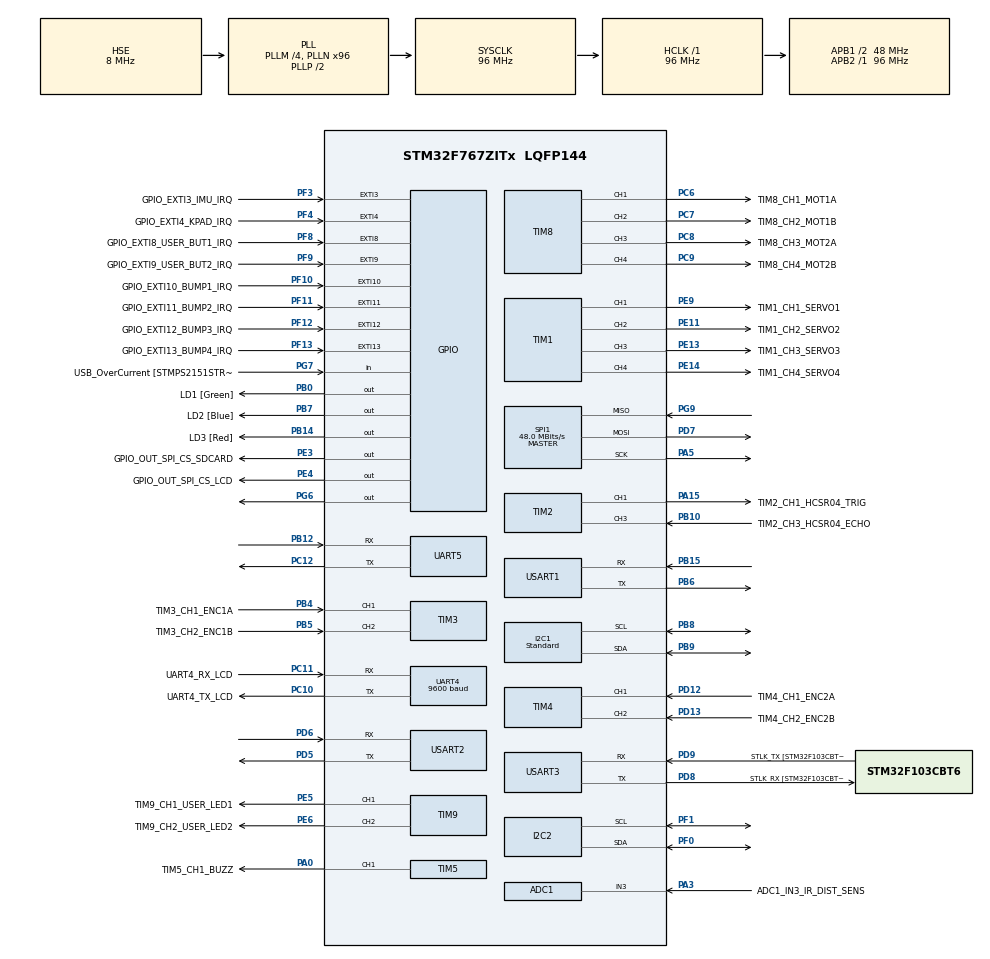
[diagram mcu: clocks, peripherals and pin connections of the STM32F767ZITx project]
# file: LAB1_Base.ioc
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ADC1.Channel-1\#ChannelRegularConversion=ADC_CHANNEL_3
ADC1.NbrOfConversionFlag=1
ADC1.Rank-1\#ChannelRegularConversion=1
ADC1.SamplingTime-1\#ChannelRegularConversion=ADC_SAMPLETIME_3CYCLES
ADC1.master=1
I2C1.I2C_Speed_Mode=I2C_Standard
I2C1.Timing=0x20303E5D
I2C2.Timing=0x20303E5D
Mcu.Family=STM32F7
Mcu.Name=STM32F767ZITx
Mcu.Package=LQFP144
Mcu.UserConstants=TIM8_PSC_VALUE,959;TIM8_ARR_VALUE,400;TIM1_PSC_VALUE,959;TIM1_ARR_VALUE,200
NVIC.EXTI4_IRQn=true\:1\:0\:true\:false\:true\:true\:true\:true
NVIC.PriorityGroup=NVIC_PRIORITYGROUP_4
PA0/WKUP.GPIO_Label=TIM5_CH1_BUZZ
PA0/WKUP.Signal=S_TIM5_CH1
PA1.GPIO_Label=RMII_REF_CLK [LAN8742A-CZ-TR_REFCLK0]
PA1.Signal=ETH_REF_CLK
PA10.GPIO_Label=USB_ID
PA10.Signal=USB_OTG_FS_ID
PA11.GPIO_Label=USB_DM
PA11.Signal=USB_OTG_FS_DM
PA12.GPIO_Label=USB_DP
PA12.Signal=USB_OTG_FS_DP
PA13.GPIO_Label=TMS
PA13.Mode=Serial_Wire
PA13.Signal=SYS_JTMS-SWDIO
PA14.GPIO_Label=TCK
PA14.Mode=Serial_Wire
PA14.Signal=SYS_JTCK-SWCLK
PA15.GPIO_Label=TIM2_CH1_HCSR04_TRIG
PA15.Signal=S_TIM2_CH1_ETR
PA2.GPIO_Label=RMII_MDIO [LAN8742A-CZ-TR_MDIO]
PA2.Signal=ETH_MDIO
PA3.GPIO_Label=ADC1_IN3_IR_DIST_SENS
PA3.Signal=ADCx_IN3
PA5.Mode=Full_Duplex_Master
PA5.Signal=SPI1_SCK
PA7.GPIO_Label=RMII_CRS_DV [LAN8742A-CZ-TR_CRS_DV]
PA7.Signal=ETH_CRS_DV
PA8.GPIO_Label=USB_SOF [TP1]
PA8.Signal=USB_OTG_FS_SOF
PA9.GPIO_Label=USB_VBUS
PA9.Signal=USB_OTG_FS_VBUS
PB0.GPIO_Label=LD1 [Green]
PB0.Signal=GPIO_Output
PB10.GPIO_Label=TIM2_CH3_HCSR04_ECHO
PB10.Signal=S_TIM2_CH3
PB12.Mode=Asynchronous
PB12.Signal=UART5_RX
PB13.GPIO_Label=RMII_TXD1 [LAN8742A-CZ-TR_TXD1]
PB13.Signal=ETH_TXD1
PB14.GPIO_Label=LD3 [Red]
PB14.Signal=GPIO_Output
PB15.Mode=Asynchronous
PB15.Signal=USART1_RX
PB3.GPIO_Label=SWO
PB3.Signal=SYS_JTDO-SWO
PB4.GPIO_Label=TIM3_CH1_ENC1A
PB4.Signal=S_TIM3_CH1
PB5.GPIO_Label=TIM3_CH2_ENC1B
PB5.Signal=S_TIM3_CH2
PB6.Mode=Asynchronous
PB6.Signal=USART1_TX
PB7.GPIO_Label=LD2 [Blue]
PB7.Signal=GPIO_Output
PB8.GPIO_Pu=GPIO_PULLUP
PB8.Mode=I2C
PB8.Signal=I2C1_SCL
PB9.GPIO_Pu=GPIO_PULLUP
PB9.Mode=I2C
PB9.Signal=I2C1_SDA
PC1.GPIO_Label=RMII_MDC [LAN8742A-CZ-TR_MDC]
PC1.Signal=ETH_MDC
PC10.GPIO_Label=UART4_TX_LCD
PC10.Mode=Asynchronous
PC10.Signal=UART4_TX
PC11.GPIO_Label=UART4_RX_LCD
PC11.Mode=Asynchronous
PC11.Signal=UART4_RX
PC12.Mode=Asynchronous
PC12.Signal=UART5_TX
PC14/OSC32_IN.Mode=LSE-External-Oscillator
PC14/OSC32_IN.Signal=RCC_OSC32_IN
PC15/OSC32_OUT.Mode=LSE-External-Oscillator
PC15/OSC32_OUT.Signal=RCC_OSC32_OUT
PC4.GPIO_Label=RMII_RXD0 [LAN8742A-CZ-TR_RXD0]
PC4.Signal=ETH_RXD0
PC5.GPIO_Label=RMII_RXD1 [LAN8742A-CZ-TR_RXD1]
PC5.Signal=ETH_RXD1
PC6.GPIO_Label=TIM8_CH1_MOT1A
PC6.Signal=S_TIM8_CH1
PC7.GPIO_Label=TIM8_CH2_MOT1B
PC7.Signal=S_TIM8_CH2
PC8.GPIO_Label=TIM8_CH3_MOT2A
PC8.Signal=S_TIM8_CH3
PC9.GPIO_Label=TIM8_CH4_MOT2B
PC9.Signal=S_TIM8_CH4
PD12.GPIO_Label=TIM4_CH1_ENC2A
PD12.Signal=S_TIM4_CH1
PD13.GPIO_Label=TIM4_CH2_ENC2B
PD13.Signal=S_TIM4_CH2
PD5.Mode=Asynchronous
PD5.Signal=USART2_TX
PD6.Mode=Asynchronous
PD6.Signal=USART2_RX
PD7.Mode=Full_Duplex_Master
PD7.Signal=SPI1_MOSI
PD8.GPIO_Label=STLK_RX [STM32F103CBT6_PA3]
PD8.Mode=Asynchronous
PD8.Signal=USART3_TX
PD9.GPIO_Label=STLK_TX [STM32F103CBT6_PA2]
PD9.Mode=Asynchronous
PD9.Signal=USART3_RX
PE11.GPIO_Label=TIM1_CH2_SERVO2
PE11.Signal=S_TIM1_CH2
PE13.GPIO_Label=TIM1_CH3_SERVO3
PE13.Signal=S_TIM1_CH3
PE14.GPIO_Label=TIM1_CH4_SERVO4
PE14.Signal=S_TIM1_CH4
PE3.GPIO_Label=GPIO_OUT_SPI_CS_SDCARD
PE3.Signal=GPIO_Output
PE4.GPIO_Label=GPIO_OUT_SPI_CS_LCD
PE4.Signal=GPIO_Output
PE5.GPIO_Label=TIM9_CH1_USER_LED1
PE5.Signal=S_TIM9_CH1
PE6.GPIO_Label=TIM9_CH2_USER_LED2
PE6.Signal=S_TIM9_CH2
PE9.GPIO_Label=TIM1_CH1_SERVO1
PE9.Signal=S_TIM1_CH1
PF0.GPIO_Pu=GPIO_PULLUP
PF0.Mode=I2C
PF0.Signal=I2C2_SDA
PF1.GPIO_Pu=GPIO_PULLUP
PF1.Mode=I2C
PF1.Signal=I2C2_SCL
PF10.GPIO_Label=GPIO_EXTI10_BUMP1_IRQ
PF10.Signal=GPXTI10
PF11.GPIO_Label=GPIO_EXTI11_BUMP2_IRQ
PF11.Signal=GPXTI11
PF12.GPIO_Label=GPIO_EXTI12_BUMP3_IRQ
PF12.Signal=GPXTI12
PF13.GPIO_Label=GPIO_EXTI13_BUMP4_IRQ
PF13.Signal=GPXTI13
PF3.GPIO_Label=GPIO_EXTI3_IMU_IRQ
PF3.Signal=GPXTI3
PF4.GPIO_Label=GPIO_EXTI4_KPAD_IRQ
PF4.GPIO_ModeDefaultEXTI=GPIO_MODE_IT_FALLING
PF4.Signal=GPXTI4
PF8.GPIO_Label=GPIO_EXTI8_USER_BUT1_IRQ
PF8.Signal=GPXTI8
PF9.GPIO_Label=GPIO_EXTI9_USER_BUT2_IRQ
PF9.Signal=GPXTI9
PG11.GPIO_Label=RMII_TX_EN [LAN8742A-CZ-TR_TXEN]
PG11.Signal=ETH_TX_EN
PG13.GPIO_Label=RMII_TXD0 [LAN8742A-CZ-TR_TXD0]
PG13.Signal=ETH_TXD0
PG6.Signal=GPIO_Output
PG7.GPIO_Label=USB_OverCurrent [STMPS2151STR_FAULT]
PG7.Signal=GPIO_Input
PG9.Mode=Full_Duplex_Master
PG9.Signal=SPI1_MISO
PH0/OSC_IN.GPIO_Label=MCO [STM32F103CBT6_PA8]
PH0/OSC_IN.Mode=HSE-External-Clock-Source
PH0/OSC_IN.Signal=RCC_OSC_IN
PH1/OSC_OUT.Mode=HSE-External-Clock-Source
PH1/OSC_OUT.Signal=RCC_OSC_OUT
ProjectManager.HeapSize=0x200
ProjectManager.StackSize=0x400
ProjectManager.TargetToolchain=STM32CubeIDE
RCC.48MHZClocksFreq_Value=24000000
RCC.AHBFreq_Value=96000000
RCC.APB1CLKDivider=RCC_HCLK_DIV2
RCC.APB1Freq_Value=48000000
RCC.APB1TimFreq_Value=96000000
RCC.APB2Freq_Value=96000000
RCC.APB2TimFreq_Value=96000000
RCC.CortexFreq_Value=96000000
RCC.HCLKFreq_Value=96000000
RCC.HSE_VALUE=8000000
RCC.HSI_VALUE=16000000
RCC.PLLM=4
RCC.PLLMUL=RCC_PLL_MUL9
RCC.PLLN=96
RCC.PLLQ=4
RCC.PLLSourceVirtual=RCC_PLLSOURCE_HSE
RCC.PRESCALERUSB=RCC_USBCLKSOURCE_PLL_DIV1_5
RCC.SYSCLKFreq_VALUE=96000000
RCC.SYSCLKSource=RCC_SYSCLKSOURCE_PLLCLK
RCC.SYSCLKSourceVirtual=RCC_SYSCLKSOURCE_PLLCLK
RCC.USBFreq_Value=48000000
RCC.VCOOutputFreq_Value=192000000
SH.ADCx_IN3.0=ADC1_IN3,IN3
SH.S_TIM1_CH1.0=TIM1_CH1,PWM Generation1 CH1
SH.S_TIM1_CH2.0=TIM1_CH2,PWM Generation2 CH2
SH.S_TIM1_CH3.0=TIM1_CH3,PWM Generation3 CH3
SH.S_TIM1_CH4.0=TIM1_CH4,PWM Generation4 CH4
SH.S_TIM2_CH1_ETR.0=TIM2_CH1,PWM Generation1 CH1
SH.S_TIM2_CH3.0=TIM2_CH3,Input_Capture3_from_TI3
SH.S_TIM3_CH1.0=TIM3_CH1,Encoder_Interface
SH.S_TIM3_CH2.0=TIM3_CH2,Encoder_Interface
SH.S_TIM4_CH1.0=TIM4_CH1,Encoder_Interface
SH.S_TIM4_CH2.0=TIM4_CH2,Encoder_Interface
SH.S_TIM5_CH1.0=TIM5_CH1,PWM Generation1 CH1
SH.S_TIM8_CH1.0=TIM8_CH1,PWM Generation1 CH1
SH.S_TIM8_CH2.0=TIM8_CH2,PWM Generation2 CH2
SH.S_TIM8_CH3.0=TIM8_CH3,PWM Generation3 CH3
SH.S_TIM8_CH4.0=TIM8_CH4,PWM Generation4 CH4
SH.S_TIM9_CH1.0=TIM9_CH1,PWM Generation1 CH1
SH.S_TIM9_CH2.0=TIM9_CH2,PWM Generation2 CH2
SPI1.CalculateBaudRate=48.0 MBits/s
SPI1.Direction=SPI_DIRECTION_2LINES
SPI1.Mode=SPI_MODE_MASTER
SPI1.VirtualType=VM_MASTER
TIM1.Channel-PWM\ Generation1\ CH1=TIM_CHANNEL_1
TIM1.Channel-PWM\ Generation2\ CH2=TIM_CHANNEL_2
TIM1.Channel-PWM\ Generation3\ CH3=TIM_CHANNEL_3
TIM1.Channel-PWM\ Generation4\ CH4=TIM_CHANNEL_4
TIM1.Period=TIM1_ARR_VALUE
TIM1.Prescaler=TIM1_PSC_VALUE
TIM2.Channel-Input_Capture3_from_TI3=TIM_CHANNEL_3
TIM2.Channel-PWM\ Generation1\ CH1=TIM_CHANNEL_1
TIM5.Channel-PWM\ Generation1\ CH1=TIM_CHANNEL_1
TIM8.Channel-PWM\ Generation1\ CH1=TIM_CHANNEL_1
TIM8.Channel-PWM\ Generation2\ CH2=TIM_CHANNEL_2
TIM8.Channel-PWM\ Generation3\ CH3=TIM_CHANNEL_3
TIM8.Channel-PWM\ Generation4\ CH4=TIM_CHANNEL_4
TIM8.Period=TIM8_ARR_VALUE
TIM8.Prescaler=TIM8_PSC_VALUE
TIM9.Channel-PWM\ Generation1\ CH1=TIM_CHANNEL_1
TIM9.Channel-PWM\ Generation2\ CH2=TIM_CHANNEL_2
UART4.BaudRate=9600
USART1.VirtualMode-Asynchronous=VM_ASYNC
USART2.VirtualMode-Asynchronous=VM_ASYNC
USART3.VirtualMode-Asynchronous=VM_ASYNC
VP_TIM1_VS_ClockSourceINT.Mode=Internal
VP_TIM2_VS_ClockSourceINT.Mode=Internal
VP_TIM5_VS_ClockSourceINT.Mode=Internal
VP_TIM8_VS_ClockSourceINT.Mode=Internal
board=NUCLEO-F767ZI

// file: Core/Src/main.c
/* USER CODE BEGIN Header */
/**
 ******************************************************************************
 * @file           : main.c
 * @brief          : Main program body
 ******************************************************************************
 * @attention
 *
 * <h2><center>&copy; Copyright (c) 2021 STMicroelectronics.
 * All rights reserved.</center></h2>
 *
 * This software component is licensed by ST under BSD 3-Clause license,
 * the "License"; You may not use this file except in compliance with the
 * License. You may obtain a copy of the License at:
 *                        opensource.org/licenses/BSD-3-Clause
 *
 ******************************************************************************
 */
/* USER CODE END Header */
#include "main.h"

/* USER CODE BEGIN Includes */
#include <stdio.h>
#include <string.h>
#include "SX1509_Registers.h"
/* USER CODE END Includes */

/* USER CODE BEGIN PD */
#define HAL_TIMEOUT 100

#define I2C_TIMEOUT 200

#define SX1509_I2C_ADDR1 0x3E //	SX1509 Proxy Sensors I2C address
#define SX1509_I2C_ADDR2 0x3F //	SX1509 Keypad I2C address
/* USER CODE END PD */

ADC_HandleTypeDef hadc1;

I2C_HandleTypeDef hi2c1;
I2C_HandleTypeDef hi2c2;

SPI_HandleTypeDef hspi1;

TIM_HandleTypeDef htim1;
TIM_HandleTypeDef htim2;
TIM_HandleTypeDef htim3;
TIM_HandleTypeDef htim4;
TIM_HandleTypeDef htim5;
TIM_HandleTypeDef htim8;
TIM_HandleTypeDef htim9;

UART_HandleTypeDef huart4;
UART_HandleTypeDef huart5;
UART_HandleTypeDef huart1;
UART_HandleTypeDef huart2;
UART_HandleTypeDef huart3;

/* USER CODE BEGIN PV */
const char keypadLayout[4][4] = {
    {'*', '0', '#', 'D'},
    {'7', '8', '9', 'C'},
    {'4', '5', '6', 'B'},
    {'1', '2', '3', 'A'}};
/* USER CODE END PV */

void SystemClock_Config(void);
static void MX_GPIO_Init(void);
static void MX_USART3_UART_Init(void);
static void MX_ADC1_Init(void);
static void MX_I2C1_Init(void);
static void MX_I2C2_Init(void);
static void MX_SPI1_Init(void);
static void MX_TIM1_Init(void);
static void MX_TIM2_Init(void);
static void MX_TIM3_Init(void);
static void MX_TIM4_Init(void);
static void MX_TIM5_Init(void);
static void MX_TIM8_Init(void);
static void MX_UART4_Init(void);
static void MX_UART5_Init(void);
static void MX_USART1_UART_Init(void);
static void MX_USART2_UART_Init(void);
static void MX_TIM9_Init(void);

/* USER CODE BEGIN 0 */
extern void initialise_monitor_handles(void);

int _write(int file, char *ptr, int len)
{
	int DataIdx;
	for (DataIdx = 0; DataIdx < len; DataIdx++)
	{
		ITM_SendChar(*ptr++);
	}
	return len;
}

void HAL_GPIO_EXTI_Callback(uint16_t GPIO_Pin)
{

	  printf("Interrupt on pin (%d).\n", GPIO_Pin);
      uint8_t data;
      data = 0x1B;

      HAL_StatusTypeDef status_col = HAL_I2C_Mem_Write(&hi2c1, SX1509_I2C_ADDR2 << 1, REG_KEY_DATA_1, 1, &data, 1, I2C_TIMEOUT);

      if (status_col != HAL_OK){
          printf("I2C communication error (%X)",status_col);

      }

      printf("Column Pressed: (%d).\n", REG_KEY_DATA_1);

      HAL_StatusTypeDef status_row = HAL_I2C_Mem_Write(&hi2c1, SX1509_I2C_ADDR2 << 1, REG_KEY_DATA_2, 1, &data, 1, I2C_TIMEOUT);

      if (status_row != HAL_OK){
          printf("I2C communication error (%X)", status_row);
		}

      printf("Row Pressed: (%d).\n", REG_KEY_DATA_2);

}

/* USER CODE END 0 */

int main(void)
{

  /* USER CODE BEGIN 1 */
  initialise_monitor_handles();

  uint8_t data;
  HAL_StatusTypeDef status;
  /* USER CODE END 1 */

  /* MCU Configuration--------------------------------------------------------*/

  /* Reset of all peripherals, Initializes the Flash interface and the Systick. */
  HAL_Init();

  /* Configure the system clock */
  SystemClock_Config();

  /* Initialize all configured peripherals */
  MX_GPIO_Init();
  MX_USART3_UART_Init();
  MX_ADC1_Init();
  MX_I2C1_Init();
  MX_I2C2_Init();
  MX_SPI1_Init();
  MX_TIM1_Init();
  MX_TIM2_Init();
  MX_TIM3_Init();
  MX_TIM4_Init();
  MX_TIM5_Init();
  MX_TIM8_Init();
  MX_UART4_Init();
  MX_UART5_Init();
  MX_USART1_UART_Init();
  MX_USART2_UART_Init();
  MX_TIM9_Init();
  /* USER CODE BEGIN 2 */

  /* Disable LCD SPI SS */
  HAL_GPIO_WritePin(GPIO_OUT_SPI_CS_LCD_GPIO_Port, GPIO_OUT_SPI_CS_LCD_Pin, GPIO_PIN_SET);

  /* Disable EXTI4_IRQ during SX1509 initialization */
  HAL_NVIC_DisableIRQ(EXTI4_IRQn);

  ITM_SendChar('h');

  /* Software reset */
  data = 0x12;
  status = HAL_I2C_Mem_Write(&hi2c1, SX1509_I2C_ADDR2 << 1, REG_RESET, 1, &data, 1, I2C_TIMEOUT);
  if (status != HAL_OK)
    printf("I2C communication error (%X).\n", status);

  data = 0x34;
  status = HAL_I2C_Mem_Write(&hi2c1, SX1509_I2C_ADDR2 << 1, REG_RESET, 1, &data, 1, I2C_TIMEOUT);
  if (status != HAL_OK)
    printf("I2C communication error (%X).\n", status);

  HAL_Delay(100);

  /* Set KeyPad scanning engine */

  /* Set RegClock to 0x40 (enable internal oscillator; 2MHz freq) */
  data = 0x40;
  status = HAL_I2C_Mem_Write(&hi2c1, SX1509_I2C_ADDR2 << 1, REG_CLOCK, 1, &data, 1, I2C_TIMEOUT);
  if (status != HAL_OK)
    printf("I2C communication error (%X).\n", status);

  /* Set Bank A RegDir to 0xF0 (IO[0:3] as out) */
  data = 0xF0;
  status = HAL_I2C_Mem_Write(&hi2c1, SX1509_I2C_ADDR2 << 1, REG_DIR_A, 1, &data, 1, I2C_TIMEOUT);
  if (status != HAL_OK)
    printf("I2C communication error (%X).\n", status);

  /* Set Bank B RegDir to 0x0F (IO[8:11] as in) */
  data = 0x0F;
  status = HAL_I2C_Mem_Write(&hi2c1, SX1509_I2C_ADDR2 << 1, REG_DIR_B, 1, &data, 1, I2C_TIMEOUT);
  if (status != HAL_OK)
    printf("I2C communication error (%X).\n", status);

  /* Set Bank A RegOpenDrain to 0x0F (IO[0:3] as open-drain outputs) */
  data = 0x0F;
  status = HAL_I2C_Mem_Write(&hi2c1, SX1509_I2C_ADDR2 << 1, REG_OPEN_DRAIN_A, 1, &data, 1, I2C_TIMEOUT);
  if (status != HAL_OK)
    printf("I2C communication error (%X).\n", status);

  /* Set Bank B RegPullup to 0x0F (pull-ups enabled on inputs IO[8:11]) */
  data = 0x0F;
  status = HAL_I2C_Mem_Write(&hi2c1, SX1509_I2C_ADDR2 << 1, REG_PULL_UP_B, 1, &data, 1, I2C_TIMEOUT);
  if (status != HAL_OK)
    printf("I2C communication error (%X).\n", status);

  /* Set Bank B RegDebounceEnable to 0x0F (enable debouncing on IO[8:11]) */
  data = 0x0F;
  status = HAL_I2C_Mem_Write(&hi2c1, SX1509_I2C_ADDR2 << 1, REG_DEBOUNCE_ENABLE_B, 1, &data, 1, I2C_TIMEOUT);
  if (status != HAL_OK)
    printf("I2C communication error (%X).\n", status);

  /* Set RegDebounceConfig to 0x05 (16ms debounce time) */
  data = 0x05;
  status = HAL_I2C_Mem_Write(&hi2c1, SX1509_I2C_ADDR2 << 1, REG_DEBOUNCE_CONFIG, 1, &data, 1, I2C_TIMEOUT);
  if (status != HAL_OK)
    printf("I2C communication error (%X).\n", status);

  /* Set RegKeyConfig1 to 0x7D (8s auto-sleep; 32ms scan time per row) */
  data = 0x7D;
  status = HAL_I2C_Mem_Write(&hi2c1, SX1509_I2C_ADDR2 << 1, REG_KEY_CONFIG_1, 1, &data, 1, I2C_TIMEOUT);
  if (status != HAL_OK)
    printf("I2C communication error (%X).\n", status);

  /* Set RegKeyConfig2 to 0x1B (4 rows; 4 columns) */
  data = 0x1B;
  status = HAL_I2C_Mem_Write(&hi2c1, SX1509_I2C_ADDR2 << 1, REG_KEY_CONFIG_2, 1, &data, 1, I2C_TIMEOUT);
  if (status != HAL_OK)
    printf("I2C communication error (%X).\n", status);

  /* Enable EXTI4_IRQ after SX1509 initialization */
  HAL_Delay(100);
  HAL_NVIC_EnableIRQ(EXTI4_IRQn);

  /* Disable EXTI2_IRQ during SX1509 initialization */
  HAL_NVIC_DisableIRQ(EXTI2_IRQn);

  /* Software reset */
  data = 0x12;
  status = HAL_I2C_Mem_Write(&hi2c1, SX1509_I2C_ADDR1 << 1, REG_RESET, 1, &data, 1, I2C_TIMEOUT);
  if (status != HAL_OK)
    printf("I2C communication error (%X).\n", status);

  data = 0x34;
  status = HAL_I2C_Mem_Write(&hi2c1, SX1509_I2C_ADDR1 << 1, REG_RESET, 1, &data, 1, I2C_TIMEOUT);
  if (status != HAL_OK)
    printf("I2C communication error (%X).\n", status);

  HAL_Delay(100);

  /* Set RegDirA to 0xFF (all IO of Bank A configured as inputs) */
  data = 0xFF; // 0 = out; 1 = in
  status = HAL_I2C_Mem_Write(&hi2c1, SX1509_I2C_ADDR1 << 1, REG_DIR_A, 1, &data, 1, I2C_TIMEOUT);
  if (status != HAL_OK)
    printf("I2C communication error (%X).\n", status);

  /* Set RegDirB to 0xFF (all IO of Bank B configured as inputs) */
  data = 0xFF; // 0 = out; 1 = in
  status = HAL_I2C_Mem_Write(&hi2c1, SX1509_I2C_ADDR1 << 1, REG_DIR_B, 1, &data, 1, I2C_TIMEOUT);
  if (status != HAL_OK)
    printf("I2C communication error (%X).\n", status);

  /* Set RegInterruptMaskA to 0x00 (all IO of Bank A will trigger an interrupt) */
  data = 0x00;
  status = HAL_I2C_Mem_Write(&hi2c1, SX1509_I2C_ADDR1 << 1, REG_INTERRUPT_MASK_A, 1, &data, 1, I2C_TIMEOUT);
  if (status != HAL_OK)
    printf("I2C communication error (%X).\n", status);

  /* Set RegSenseHighA to 0xAA (IO[7:4] of Bank A will trigger an interrupt on falling edge) */
  data = 0xAA;
  status = HAL_I2C_Mem_Write(&hi2c1, SX1509_I2C_ADDR1 << 1, REG_SENSE_HIGH_A, 1, &data, 1, I2C_TIMEOUT);
  if (status != HAL_OK)
    printf("I2C communication error (%X).\n", status);

  /* Set RegSenseLowA to 0xAA (IO[3:0] of Bank A will trigger an interrupt on falling edge) */
  data = 0xAA;
  status = HAL_I2C_Mem_Write(&hi2c1, SX1509_I2C_ADDR1 << 1, REG_SENSE_LOW_A, 1, &data, 1, I2C_TIMEOUT);
  if (status != HAL_OK)
    printf("I2C communication error (%X).\n", status);

  /* Enable EXTI2_IRQ after SX1509 initialization */
  HAL_Delay(100);
  HAL_NVIC_EnableIRQ(EXTI2_IRQn);

  printf("Ready\n");

  /* USER CODE END 2 */

  /* Infinite loop */
  while (1)
  {
	  printf("Hello, World!\n");
	  HAL_Delay(1000);
  }
}

void SystemClock_Config(void)
{
  RCC_OscInitTypeDef RCC_OscInitStruct = {0};
  RCC_ClkInitTypeDef RCC_ClkInitStruct = {0};

  /** Configure LSE Drive Capability
  */
  HAL_PWR_EnableBkUpAccess();

  /** Configure the main internal regulator output voltage
  */
  __HAL_RCC_PWR_CLK_ENABLE();
  __HAL_PWR_VOLTAGESCALING_CONFIG(PWR_REGULATOR_VOLTAGE_SCALE3);

  /** Initializes the RCC Oscillators according to the specified parameters
  * in the RCC_OscInitTypeDef structure.
  */
  RCC_OscInitStruct.OscillatorType = RCC_OSCILLATORTYPE_HSE;
  RCC_OscInitStruct.HSEState = RCC_HSE_BYPASS;
  RCC_OscInitStruct.PLL.PLLState = RCC_PLL_ON;
  RCC_OscInitStruct.PLL.PLLSource = RCC_PLLSOURCE_HSE;
  RCC_OscInitStruct.PLL.PLLM = 4;
  RCC_OscInitStruct.PLL.PLLN = 96;
  RCC_OscInitStruct.PLL.PLLP = RCC_PLLP_DIV2;
  RCC_OscInitStruct.PLL.PLLQ = 4;
  RCC_OscInitStruct.PLL.PLLR = 2;
  if (HAL_RCC_OscConfig(&RCC_OscInitStruct) != HAL_OK)
  {
    Error_Handler();
  }

  /** Activate the Over-Drive mode
  */
  if (HAL_PWREx_EnableOverDrive() != HAL_OK)
  {
    Error_Handler();
  }

  /** Initializes the CPU, AHB and APB buses clocks
  */
  RCC_ClkInitStruct.ClockType = RCC_CLOCKTYPE_HCLK|RCC_CLOCKTYPE_SYSCLK
                              |RCC_CLOCKTYPE_PCLK1|RCC_CLOCKTYPE_PCLK2;
  RCC_ClkInitStruct.SYSCLKSource = RCC_SYSCLKSOURCE_PLLCLK;
  RCC_ClkInitStruct.AHBCLKDivider = RCC_SYSCLK_DIV1;
  RCC_ClkInitStruct.APB1CLKDivider = RCC_HCLK_DIV2;
  RCC_ClkInitStruct.APB2CLKDivider = RCC_HCLK_DIV1;

  if (HAL_RCC_ClockConfig(&RCC_ClkInitStruct, FLASH_LATENCY_3) != HAL_OK)
  {
    Error_Handler();
  }
}

static void MX_ADC1_Init(void)
{

  ADC_ChannelConfTypeDef sConfig = {0};

  /** Configure the global features of the ADC (Clock, Resolution, Data Alignment and number of conversion)
  */
  hadc1.Instance = ADC1;
  hadc1.Init.ClockPrescaler = ADC_CLOCK_SYNC_PCLK_DIV4;
  hadc1.Init.Resolution = ADC_RESOLUTION_12B;
  hadc1.Init.ScanConvMode = ADC_SCAN_DISABLE;
  hadc1.Init.ContinuousConvMode = DISABLE;
  hadc1.Init.DiscontinuousConvMode = DISABLE;
  hadc1.Init.ExternalTrigConvEdge = ADC_EXTERNALTRIGCONVEDGE_NONE;
  hadc1.Init.ExternalTrigConv = ADC_SOFTWARE_START;
  hadc1.Init.DataAlign = ADC_DATAALIGN_RIGHT;
  hadc1.Init.NbrOfConversion = 1;
  hadc1.Init.DMAContinuousRequests = DISABLE;
  hadc1.Init.EOCSelection = ADC_EOC_SINGLE_CONV;
  if (HAL_ADC_Init(&hadc1) != HAL_OK)
  {
    Error_Handler();
  }

  /** Configure for the selected ADC regular channel its corresponding rank in the sequencer and its sample time.
  */
  sConfig.Channel = ADC_CHANNEL_3;
  sConfig.Rank = ADC_REGULAR_RANK_1;
  sConfig.SamplingTime = ADC_SAMPLETIME_3CYCLES;
  if (HAL_ADC_ConfigChannel(&hadc1, &sConfig) != HAL_OK)
  {
    Error_Handler();
  }

}

static void MX_I2C1_Init(void)
{

  hi2c1.Instance = I2C1;
  hi2c1.Init.Timing = 0x20303E5D;
  hi2c1.Init.OwnAddress1 = 0;
  hi2c1.Init.AddressingMode = I2C_ADDRESSINGMODE_7BIT;
  hi2c1.Init.DualAddressMode = I2C_DUALADDRESS_DISABLE;
  hi2c1.Init.OwnAddress2 = 0;
  hi2c1.Init.OwnAddress2Masks = I2C_OA2_NOMASK;
  hi2c1.Init.GeneralCallMode = I2C_GENERALCALL_DISABLE;
  hi2c1.Init.NoStretchMode = I2C_NOSTRETCH_DISABLE;
  if (HAL_I2C_Init(&hi2c1) != HAL_OK)
  {
    Error_Handler();
  }

  /** Configure Analogue filter
  */
  if (HAL_I2CEx_ConfigAnalogFilter(&hi2c1, I2C_ANALOGFILTER_ENABLE) != HAL_OK)
  {
    Error_Handler();
  }

  /** Configure Digital filter
  */
  if (HAL_I2CEx_ConfigDigitalFilter(&hi2c1, 0) != HAL_OK)
  {
    Error_Handler();
  }

}

static void MX_I2C2_Init(void)
{

  hi2c2.Instance = I2C2;
  hi2c2.Init.Timing = 0x20303E5D;
  hi2c2.Init.OwnAddress1 = 0;
  hi2c2.Init.AddressingMode = I2C_ADDRESSINGMODE_7BIT;
  hi2c2.Init.DualAddressMode = I2C_DUALADDRESS_DISABLE;
  hi2c2.Init.OwnAddress2 = 0;
  hi2c2.Init.OwnAddress2Masks = I2C_OA2_NOMASK;
  hi2c2.Init.GeneralCallMode = I2C_GENERALCALL_DISABLE;
  hi2c2.Init.NoStretchMode = I2C_NOSTRETCH_DISABLE;
  if (HAL_I2C_Init(&hi2c2) != HAL_OK)
  {
    Error_Handler();
  }

  /** Configure Analogue filter
  */
  if (HAL_I2CEx_ConfigAnalogFilter(&hi2c2, I2C_ANALOGFILTER_ENABLE) != HAL_OK)
  {
    Error_Handler();
  }

  /** Configure Digital filter
  */
  if (HAL_I2CEx_ConfigDigitalFilter(&hi2c2, 0) != HAL_OK)
  {
    Error_Handler();
  }

}

static void MX_SPI1_Init(void)
{

  /* SPI1 parameter configuration*/
  hspi1.Instance = SPI1;
  hspi1.Init.Mode = SPI_MODE_MASTER;
  hspi1.Init.Direction = SPI_DIRECTION_2LINES;
  hspi1.Init.DataSize = SPI_DATASIZE_4BIT;
  hspi1.Init.CLKPolarity = SPI_POLARITY_LOW;
  hspi1.Init.CLKPhase = SPI_PHASE_1EDGE;
  hspi1.Init.NSS = SPI_NSS_SOFT;
  hspi1.Init.BaudRatePrescaler = SPI_BAUDRATEPRESCALER_2;
  hspi1.Init.FirstBit = SPI_FIRSTBIT_MSB;
  hspi1.Init.TIMode = SPI_TIMODE_DISABLE;
  hspi1.Init.CRCCalculation = SPI_CRCCALCULATION_DISABLE;
  hspi1.Init.CRCPolynomial = 7;
  hspi1.Init.CRCLength = SPI_CRC_LENGTH_DATASIZE;
  hspi1.Init.NSSPMode = SPI_NSS_PULSE_ENABLE;
  if (HAL_SPI_Init(&hspi1) != HAL_OK)
  {
    Error_Handler();
  }

}

static void MX_TIM1_Init(void)
{

  TIM_ClockConfigTypeDef sClockSourceConfig = {0};
  TIM_MasterConfigTypeDef sMasterConfig = {0};
  TIM_OC_InitTypeDef sConfigOC = {0};
  TIM_BreakDeadTimeConfigTypeDef sBreakDeadTimeConfig = {0};

  htim1.Instance = TIM1;
  htim1.Init.Prescaler = TIM1_PSC_VALUE;
  htim1.Init.CounterMode = TIM_COUNTERMODE_UP;
  htim1.Init.Period = TIM1_ARR_VALUE;
  htim1.Init.ClockDivision = TIM_CLOCKDIVISION_DIV1;
  htim1.Init.RepetitionCounter = 0;
  htim1.Init.AutoReloadPreload = TIM_AUTORELOAD_PRELOAD_DISABLE;
  if (HAL_TIM_Base_Init(&htim1) != HAL_OK)
  {
    Error_Handler();
  }
  sClockSourceConfig.ClockSource = TIM_CLOCKSOURCE_INTERNAL;
  if (HAL_TIM_ConfigClockSource(&htim1, &sClockSourceConfig) != HAL_OK)
  {
    Error_Handler();
  }
  if (HAL_TIM_PWM_Init(&htim1) != HAL_OK)
  {
    Error_Handler();
  }
  sMasterConfig.MasterOutputTrigger = TIM_TRGO_RESET;
  sMasterConfig.MasterOutputTrigger2 = TIM_TRGO2_RESET;
  sMasterConfig.MasterSlaveMode = TIM_MASTERSLAVEMODE_DISABLE;
  if (HAL_TIMEx_MasterConfigSynchronization(&htim1, &sMasterConfig) != HAL_OK)
  {
    Error_Handler();
  }
  sConfigOC.OCMode = TIM_OCMODE_PWM1;
  sConfigOC.Pulse = 0;
  sConfigOC.OCPolarity = TIM_OCPOLARITY_HIGH;
  sConfigOC.OCNPolarity = TIM_OCNPOLARITY_HIGH;
  sConfigOC.OCFastMode = TIM_OCFAST_DISABLE;
  sConfigOC.OCIdleState = TIM_OCIDLESTATE_RESET;
  sConfigOC.OCNIdleState = TIM_OCNIDLESTATE_RESET;
  if (HAL_TIM_PWM_ConfigChannel(&htim1, &sConfigOC, TIM_CHANNEL_1) != HAL_OK)
  {
    Error_Handler();
  }
  if (HAL_TIM_PWM_ConfigChannel(&htim1, &sConfigOC, TIM_CHANNEL_2) != HAL_OK)
  {
    Error_Handler();
  }
  if (HAL_TIM_PWM_ConfigChannel(&htim1, &sConfigOC, TIM_CHANNEL_3) != HAL_OK)
  {
    Error_Handler();
  }
  if (HAL_TIM_PWM_ConfigChannel(&htim1, &sConfigOC, TIM_CHANNEL_4) != HAL_OK)
  {
    Error_Handler();
  }
  sBreakDeadTimeConfig.OffStateRunMode = TIM_OSSR_DISABLE;
  sBreakDeadTimeConfig.OffStateIDLEMode = TIM_OSSI_DISABLE;
  sBreakDeadTimeConfig.LockLevel = TIM_LOCKLEVEL_OFF;
  sBreakDeadTimeConfig.DeadTime = 0;
  sBreakDeadTimeConfig.BreakState = TIM_BREAK_DISABLE;
  sBreakDeadTimeConfig.BreakPolarity = TIM_BREAKPOLARITY_HIGH;
  sBreakDeadTimeConfig.BreakFilter = 0;
  sBreakDeadTimeConfig.Break2State = TIM_BREAK2_DISABLE;
  sBreakDeadTimeConfig.Break2Polarity = TIM_BREAK2POLARITY_HIGH;
  sBreakDeadTimeConfig.Break2Filter = 0;
  sBreakDeadTimeConfig.AutomaticOutput = TIM_AUTOMATICOUTPUT_DISABLE;
  if (HAL_TIMEx_ConfigBreakDeadTime(&htim1, &sBreakDeadTimeConfig) != HAL_OK)
  {
    Error_Handler();
  }
  HAL_TIM_MspPostInit(&htim1);

}

static void MX_TIM2_Init(void)
{

  TIM_ClockConfigTypeDef sClockSourceConfig = {0};
  TIM_MasterConfigTypeDef sMasterConfig = {0};
  TIM_OC_InitTypeDef sConfigOC = {0};
  TIM_IC_InitTypeDef sConfigIC = {0};

  htim2.Instance = TIM2;
  htim2.Init.Prescaler = 0;
  htim2.Init.CounterMode = TIM_COUNTERMODE_UP;
  htim2.Init.Period = 4294967295;
  htim2.Init.ClockDivision = TIM_CLOCKDIVISION_DIV1;
  htim2.Init.AutoReloadPreload = TIM_AUTORELOAD_PRELOAD_DISABLE;
  if (HAL_TIM_Base_Init(&htim2) != HAL_OK)
  {
    Error_Handler();
  }
  sClockSourceConfig.ClockSource = TIM_CLOCKSOURCE_INTERNAL;
  if (HAL_TIM_ConfigClockSource(&htim2, &sClockSourceConfig) != HAL_OK)
  {
    Error_Handler();
  }
  if (HAL_TIM_PWM_Init(&htim2) != HAL_OK)
  {
    Error_Handler();
  }
  if (HAL_TIM_IC_Init(&htim2) != HAL_OK)
  {
    Error_Handler();
  }
  sMasterConfig.MasterOutputTrigger = TIM_TRGO_RESET;
  sMasterConfig.MasterSlaveMode = TIM_MASTERSLAVEMODE_DISABLE;
  if (HAL_TIMEx_MasterConfigSynchronization(&htim2, &sMasterConfig) != HAL_OK)
  {
    Error_Handler();
  }
  sConfigOC.OCMode = TIM_OCMODE_PWM1;
  sConfigOC.Pulse = 0;
  sConfigOC.OCPolarity = TIM_OCPOLARITY_HIGH;
  sConfigOC.OCFastMode = TIM_OCFAST_DISABLE;
  if (HAL_TIM_PWM_ConfigChannel(&htim2, &sConfigOC, TIM_CHANNEL_1) != HAL_OK)
  {
    Error_Handler();
  }
  sConfigIC.ICPolarity = TIM_INPUTCHANNELPOLARITY_RISING;
  sConfigIC.ICSelection = TIM_ICSELECTION_DIRECTTI;
  sConfigIC.ICPrescaler = TIM_ICPSC_DIV1;
  sConfigIC.ICFilter = 0;
  if (HAL_TIM_IC_ConfigChannel(&htim2, &sConfigIC, TIM_CHANNEL_3) != HAL_OK)
  {
    Error_Handler();
  }
  HAL_TIM_MspPostInit(&htim2);

}

static void MX_TIM3_Init(void)
{

  TIM_Encoder_InitTypeDef sConfig = {0};
  TIM_MasterConfigTypeDef sMasterConfig = {0};

  htim3.Instance = TIM3;
  htim3.Init.Prescaler = 0;
  htim3.Init.CounterMode = TIM_COUNTERMODE_UP;
  htim3.Init.Period = 65535;
  htim3.Init.ClockDivision = TIM_CLOCKDIVISION_DIV1;
  htim3.Init.AutoReloadPreload = TIM_AUTORELOAD_PRELOAD_DISABLE;
  sConfig.EncoderMode = TIM_ENCODERMODE_TI1;
  sConfig.IC1Polarity = TIM_ICPOLARITY_RISING;
  sConfig.IC1Selection = TIM_ICSELECTION_DIRECTTI;
  sConfig.IC1Prescaler = TIM_ICPSC_DIV1;
  sConfig.IC1Filter = 0;
  sConfig.IC2Polarity = TIM_ICPOLARITY_RISING;
  sConfig.IC2Selection = TIM_ICSELECTION_DIRECTTI;
  sConfig.IC2Prescaler = TIM_ICPSC_DIV1;
  sConfig.IC2Filter = 0;
  if (HAL_TIM_Encoder_Init(&htim3, &sConfig) != HAL_OK)
  {
    Error_Handler();
  }
  sMasterConfig.MasterOutputTrigger = TIM_TRGO_RESET;
  sMasterConfig.MasterSlaveMode = TIM_MASTERSLAVEMODE_DISABLE;
  if (HAL_TIMEx_MasterConfigSynchronization(&htim3, &sMasterConfig) != HAL_OK)
  {
    Error_Handler();
  }

}

static void MX_TIM4_Init(void)
{

  TIM_Encoder_InitTypeDef sConfig = {0};
  TIM_MasterConfigTypeDef sMasterConfig = {0};

  htim4.Instance = TIM4;
  htim4.Init.Prescaler = 0;
  htim4.Init.CounterMode = TIM_COUNTERMODE_UP;
  htim4.Init.Period = 65535;
  htim4.Init.ClockDivision = TIM_CLOCKDIVISION_DIV1;
  htim4.Init.AutoReloadPreload = TIM_AUTORELOAD_PRELOAD_DISABLE;
  sConfig.EncoderMode = TIM_ENCODERMODE_TI1;
  sConfig.IC1Polarity = TIM_ICPOLARITY_RISING;
  sConfig.IC1Selection = TIM_ICSELECTION_DIRECTTI;
  sConfig.IC1Prescaler = TIM_ICPSC_DIV1;
  sConfig.IC1Filter = 0;
  sConfig.IC2Polarity = TIM_ICPOLARITY_RISING;
  sConfig.IC2Selection = TIM_ICSELECTION_DIRECTTI;
  sConfig.IC2Prescaler = TIM_ICPSC_DIV1;
  sConfig.IC2Filter = 0;
  if (HAL_TIM_Encoder_Init(&htim4, &sConfig) != HAL_OK)
  {
    Error_Handler();
  }
  sMasterConfig.MasterOutputTrigger = TIM_TRGO_RESET;
  sMasterConfig.MasterSlaveMode = TIM_MASTERSLAVEMODE_DISABLE;
  if (HAL_TIMEx_MasterConfigSynchronization(&htim4, &sMasterConfig) != HAL_OK)
  {
    Error_Handler();
  }

}

static void MX_TIM5_Init(void)
{

  TIM_ClockConfigTypeDef sClockSourceConfig = {0};
  TIM_MasterConfigTypeDef sMasterConfig = {0};
  TIM_OC_InitTypeDef sConfigOC = {0};

  htim5.Instance = TIM5;
  htim5.Init.Prescaler = 0;
  htim5.Init.CounterMode = TIM_COUNTERMODE_UP;
  htim5.Init.Period = 4294967295;
  htim5.Init.ClockDivision = TIM_CLOCKDIVISION_DIV1;
  htim5.Init.AutoReloadPreload = TIM_AUTORELOAD_PRELOAD_DISABLE;
  if (HAL_TIM_Base_Init(&htim5) != HAL_OK)
  {
    Error_Handler();
  }
  sClockSourceConfig.ClockSource = TIM_CLOCKSOURCE_INTERNAL;
  if (HAL_TIM_ConfigClockSource(&htim5, &sClockSourceConfig) != HAL_OK)
  {
    Error_Handler();
  }
  if (HAL_TIM_PWM_Init(&htim5) != HAL_OK)
  {
    Error_Handler();
  }
  sMasterConfig.MasterOutputTrigger = TIM_TRGO_RESET;
  sMasterConfig.MasterSlaveMode = TIM_MASTERSLAVEMODE_DISABLE;
  if (HAL_TIMEx_MasterConfigSynchronization(&htim5, &sMasterConfig) != HAL_OK)
  {
    Error_Handler();
  }
  sConfigOC.OCMode = TIM_OCMODE_PWM1;
  sConfigOC.Pulse = 0;
  sConfigOC.OCPolarity = TIM_OCPOLARITY_HIGH;
  sConfigOC.OCFastMode = TIM_OCFAST_DISABLE;
  if (HAL_TIM_PWM_ConfigChannel(&htim5, &sConfigOC, TIM_CHANNEL_1) != HAL_OK)
  {
    Error_Handler();
  }
  HAL_TIM_MspPostInit(&htim5);

}

static void MX_TIM8_Init(void)
{

  TIM_ClockConfigTypeDef sClockSourceConfig = {0};
  TIM_MasterConfigTypeDef sMasterConfig = {0};
  TIM_OC_InitTypeDef sConfigOC = {0};
  TIM_BreakDeadTimeConfigTypeDef sBreakDeadTimeConfig = {0};

  htim8.Instance = TIM8;
  htim8.Init.Prescaler = TIM8_PSC_VALUE;
  htim8.Init.CounterMode = TIM_COUNTERMODE_UP;
  htim8.Init.Period = TIM8_ARR_VALUE;
  htim8.Init.ClockDivision = TIM_CLOCKDIVISION_DIV1;
  htim8.Init.RepetitionCounter = 0;
  htim8.Init.AutoReloadPreload = TIM_AUTORELOAD_PRELOAD_DISABLE;
  if (HAL_TIM_Base_Init(&htim8) != HAL_OK)
  {
    Error_Handler();
  }
  sClockSourceConfig.ClockSource = TIM_CLOCKSOURCE_INTERNAL;
  if (HAL_TIM_ConfigClockSource(&htim8, &sClockSourceConfig) != HAL_OK)
  {
    Error_Handler();
  }
  if (HAL_TIM_PWM_Init(&htim8) != HAL_OK)
  {
    Error_Handler();
  }
  sMasterConfig.MasterOutputTrigger = TIM_TRGO_RESET;
  sMasterConfig.MasterOutputTrigger2 = TIM_TRGO2_RESET;
  sMasterConfig.MasterSlaveMode = TIM_MASTERSLAVEMODE_DISABLE;
  if (HAL_TIMEx_MasterConfigSynchronization(&htim8, &sMasterConfig) != HAL_OK)
  {
    Error_Handler();
  }
  sConfigOC.OCMode = TIM_OCMODE_PWM1;
  sConfigOC.Pulse = 0;
  sConfigOC.OCPolarity = TIM_OCPOLARITY_HIGH;
  sConfigOC.OCNPolarity = TIM_OCNPOLARITY_HIGH;
  sConfigOC.OCFastMode = TIM_OCFAST_DISABLE;
  sConfigOC.OCIdleState = TIM_OCIDLESTATE_RESET;
  sConfigOC.OCNIdleState = TIM_OCNIDLESTATE_RESET;
  if (HAL_TIM_PWM_ConfigChannel(&htim8, &sConfigOC, TIM_CHANNEL_1) != HAL_OK)
  {
    Error_Handler();
  }
  if (HAL_TIM_PWM_ConfigChannel(&htim8, &sConfigOC, TIM_CHANNEL_2) != HAL_OK)
  {
    Error_Handler();
  }
  if (HAL_TIM_PWM_ConfigChannel(&htim8, &sConfigOC, TIM_CHANNEL_3) != HAL_OK)
  {
    Error_Handler();
  }
  if (HAL_TIM_PWM_ConfigChannel(&htim8, &sConfigOC, TIM_CHANNEL_4) != HAL_OK)
  {
    Error_Handler();
  }
  sBreakDeadTimeConfig.OffStateRunMode = TIM_OSSR_DISABLE;
  sBreakDeadTimeConfig.OffStateIDLEMode = TIM_OSSI_DISABLE;
  sBreakDeadTimeConfig.LockLevel = TIM_LOCKLEVEL_OFF;
  sBreakDeadTimeConfig.DeadTime = 0;
  sBreakDeadTimeConfig.BreakState = TIM_BREAK_DISABLE;
  sBreakDeadTimeConfig.BreakPolarity = TIM_BREAKPOLARITY_HIGH;
  sBreakDeadTimeConfig.BreakFilter = 0;
  sBreakDeadTimeConfig.Break2State = TIM_BREAK2_DISABLE;
  sBreakDeadTimeConfig.Break2Polarity = TIM_BREAK2POLARITY_HIGH;
  sBreakDeadTimeConfig.Break2Filter = 0;
  sBreakDeadTimeConfig.AutomaticOutput = TIM_AUTOMATICOUTPUT_DISABLE;
  if (HAL_TIMEx_ConfigBreakDeadTime(&htim8, &sBreakDeadTimeConfig) != HAL_OK)
  {
    Error_Handler();
  }
  HAL_TIM_MspPostInit(&htim8);

}

static void MX_TIM9_Init(void)
{

  TIM_OC_InitTypeDef sConfigOC = {0};

  htim9.Instance = TIM9;
  htim9.Init.Prescaler = 0;
  htim9.Init.CounterMode = TIM_COUNTERMODE_UP;
  htim9.Init.Period = 65535;
  htim9.Init.ClockDivision = TIM_CLOCKDIVISION_DIV1;
  htim9.Init.AutoReloadPreload = TIM_AUTORELOAD_PRELOAD_DISABLE;
  if (HAL_TIM_PWM_Init(&htim9) != HAL_OK)
  {
    Error_Handler();
  }
  sConfigOC.OCMode = TIM_OCMODE_PWM1;
  sConfigOC.Pulse = 0;
  sConfigOC.OCPolarity = TIM_OCPOLARITY_HIGH;
  sConfigOC.OCFastMode = TIM_OCFAST_DISABLE;
  if (HAL_TIM_PWM_ConfigChannel(&htim9, &sConfigOC, TIM_CHANNEL_1) != HAL_OK)
  {
    Error_Handler();
  }
  if (HAL_TIM_PWM_ConfigChannel(&htim9, &sConfigOC, TIM_CHANNEL_2) != HAL_OK)
  {
    Error_Handler();
  }
  HAL_TIM_MspPostInit(&htim9);

}

static void MX_UART4_Init(void)
{

  huart4.Instance = UART4;
  huart4.Init.BaudRate = 9600;
  huart4.Init.WordLength = UART_WORDLENGTH_8B;
  huart4.Init.StopBits = UART_STOPBITS_1;
  huart4.Init.Parity = UART_PARITY_NONE;
  huart4.Init.Mode = UART_MODE_TX_RX;
  huart4.Init.HwFlowCtl = UART_HWCONTROL_NONE;
  huart4.Init.OverSampling = UART_OVERSAMPLING_16;
  huart4.Init.OneBitSampling = UART_ONE_BIT_SAMPLE_DISABLE;
  huart4.AdvancedInit.AdvFeatureInit = UART_ADVFEATURE_NO_INIT;
  if (HAL_UART_Init(&huart4) != HAL_OK)
  {
    Error_Handler();
  }

}

static void MX_UART5_Init(void)
{

  huart5.Instance = UART5;
  huart5.Init.BaudRate = 115200;
  huart5.Init.WordLength = UART_WORDLENGTH_8B;
  huart5.Init.StopBits = UART_STOPBITS_1;
  huart5.Init.Parity = UART_PARITY_NONE;
  huart5.Init.Mode = UART_MODE_TX_RX;
  huart5.Init.HwFlowCtl = UART_HWCONTROL_NONE;
  huart5.Init.OverSampling = UART_OVERSAMPLING_16;
  huart5.Init.OneBitSampling = UART_ONE_BIT_SAMPLE_DISABLE;
  huart5.AdvancedInit.AdvFeatureInit = UART_ADVFEATURE_NO_INIT;
  if (HAL_UART_Init(&huart5) != HAL_OK)
  {
    Error_Handler();
  }

}

static void MX_USART1_UART_Init(void)
{

  huart1.Instance = USART1;
  huart1.Init.BaudRate = 115200;
  huart1.Init.WordLength = UART_WORDLENGTH_8B;
  huart1.Init.StopBits = UART_STOPBITS_1;
  huart1.Init.Parity = UART_PARITY_NONE;
  huart1.Init.Mode = UART_MODE_TX_RX;
  huart1.Init.HwFlowCtl = UART_HWCONTROL_NONE;
  huart1.Init.OverSampling = UART_OVERSAMPLING_16;
  huart1.Init.OneBitSampling = UART_ONE_BIT_SAMPLE_DISABLE;
  huart1.AdvancedInit.AdvFeatureInit = UART_ADVFEATURE_NO_INIT;
  if (HAL_UART_Init(&huart1) != HAL_OK)
  {
    Error_Handler();
  }

}

static void MX_USART2_UART_Init(void)
{

  huart2.Instance = USART2;
  huart2.Init.BaudRate = 115200;
  huart2.Init.WordLength = UART_WORDLENGTH_8B;
  huart2.Init.StopBits = UART_STOPBITS_1;
  huart2.Init.Parity = UART_PARITY_NONE;
  huart2.Init.Mode = UART_MODE_TX_RX;
  huart2.Init.HwFlowCtl = UART_HWCONTROL_NONE;
  huart2.Init.OverSampling = UART_OVERSAMPLING_16;
  huart2.Init.OneBitSampling = UART_ONE_BIT_SAMPLE_DISABLE;
  huart2.AdvancedInit.AdvFeatureInit = UART_ADVFEATURE_NO_INIT;
  if (HAL_UART_Init(&huart2) != HAL_OK)
  {
    Error_Handler();
  }

}

static void MX_USART3_UART_Init(void)
{

  huart3.Instance = USART3;
  huart3.Init.BaudRate = 115200;
  huart3.Init.WordLength = UART_WORDLENGTH_8B;
  huart3.Init.StopBits = UART_STOPBITS_1;
  huart3.Init.Parity = UART_PARITY_NONE;
  huart3.Init.Mode = UART_MODE_TX_RX;
  huart3.Init.HwFlowCtl = UART_HWCONTROL_NONE;
  huart3.Init.OverSampling = UART_OVERSAMPLING_16;
  huart3.Init.OneBitSampling = UART_ONE_BIT_SAMPLE_DISABLE;
  huart3.AdvancedInit.AdvFeatureInit = UART_ADVFEATURE_NO_INIT;
  if (HAL_UART_Init(&huart3) != HAL_OK)
  {
    Error_Handler();
  }

}

static void MX_GPIO_Init(void)
{
  GPIO_InitTypeDef GPIO_InitStruct = {0};

  /* GPIO Ports Clock Enable */
  __HAL_RCC_GPIOE_CLK_ENABLE();
  __HAL_RCC_GPIOC_CLK_ENABLE();
  __HAL_RCC_GPIOF_CLK_ENABLE();
  __HAL_RCC_GPIOH_CLK_ENABLE();
  __HAL_RCC_GPIOA_CLK_ENABLE();
  __HAL_RCC_GPIOB_CLK_ENABLE();
  __HAL_RCC_GPIOD_CLK_ENABLE();
  __HAL_RCC_GPIOG_CLK_ENABLE();

  /*Configure GPIO pin Output Level */
  HAL_GPIO_WritePin(GPIOE, GPIO_OUT_SPI_CS_SDCARD_Pin|GPIO_OUT_SPI_CS_LCD_Pin, GPIO_PIN_RESET);

  /*Configure GPIO pin Output Level */
  HAL_GPIO_WritePin(GPIOB, LD1_Pin|LD3_Pin|LD2_Pin, GPIO_PIN_RESET);

  /*Configure GPIO pin Output Level */
  HAL_GPIO_WritePin(GPIOG, GPIO_PIN_6, GPIO_PIN_RESET);

  /*Configure GPIO pins : GPIO_OUT_SPI_CS_SDCARD_Pin GPIO_OUT_SPI_CS_LCD_Pin */
  GPIO_InitStruct.Pin = GPIO_OUT_SPI_CS_SDCARD_Pin|GPIO_OUT_SPI_CS_LCD_Pin;
  GPIO_InitStruct.Mode = GPIO_MODE_OUTPUT_PP;
  GPIO_InitStruct.Pull = GPIO_NOPULL;
  GPIO_InitStruct.Speed = GPIO_SPEED_FREQ_LOW;
  HAL_GPIO_Init(GPIOE, &GPIO_InitStruct);

  /*Configure GPIO pins : GPIO_EXTI3_IMU_IRQ_Pin GPIO_EXTI8_USER_BUT1_IRQ_Pin GPIO_EXTI9_USER_BUT2_IRQ_Pin GPIO_EXTI10_BUMP1_IRQ_Pin
                           GPIO_EXTI11_BUMP2_IRQ_Pin GPIO_EXTI12_BUMP3_IRQ_Pin GPIO_EXTI13_BUMP4_IRQ_Pin */
  GPIO_InitStruct.Pin = GPIO_EXTI3_IMU_IRQ_Pin|GPIO_EXTI8_USER_BUT1_IRQ_Pin|GPIO_EXTI9_USER_BUT2_IRQ_Pin|GPIO_EXTI10_BUMP1_IRQ_Pin
                          |GPIO_EXTI11_BUMP2_IRQ_Pin|GPIO_EXTI12_BUMP3_IRQ_Pin|GPIO_EXTI13_BUMP4_IRQ_Pin;
  GPIO_InitStruct.Mode = GPIO_MODE_IT_RISING;
  GPIO_InitStruct.Pull = GPIO_NOPULL;
  HAL_GPIO_Init(GPIOF, &GPIO_InitStruct);

  /*Configure GPIO pin : GPIO_EXTI4_KPAD_IRQ_Pin */
  GPIO_InitStruct.Pin = GPIO_EXTI4_KPAD_IRQ_Pin;
  GPIO_InitStruct.Mode = GPIO_MODE_IT_FALLING;
  GPIO_InitStruct.Pull = GPIO_NOPULL;
  HAL_GPIO_Init(GPIO_EXTI4_KPAD_IRQ_GPIO_Port, &GPIO_InitStruct);

  /*Configure GPIO pins : RMII_MDC_Pin RMII_RXD0_Pin RMII_RXD1_Pin */
  GPIO_InitStruct.Pin = RMII_MDC_Pin|RMII_RXD0_Pin|RMII_RXD1_Pin;
  GPIO_InitStruct.Mode = GPIO_MODE_AF_PP;
  GPIO_InitStruct.Pull = GPIO_NOPULL;
  GPIO_InitStruct.Speed = GPIO_SPEED_FREQ_VERY_HIGH;
  GPIO_InitStruct.Alternate = GPIO_AF11_ETH;
  HAL_GPIO_Init(GPIOC, &GPIO_InitStruct);

  /*Configure GPIO pins : RMII_REF_CLK_Pin RMII_MDIO_Pin RMII_CRS_DV_Pin */
  GPIO_InitStruct.Pin = RMII_REF_CLK_Pin|RMII_MDIO_Pin|RMII_CRS_DV_Pin;
  GPIO_InitStruct.Mode = GPIO_MODE_AF_PP;
  GPIO_InitStruct.Pull = GPIO_NOPULL;
  GPIO_InitStruct.Speed = GPIO_SPEED_FREQ_VERY_HIGH;
  GPIO_InitStruct.Alternate = GPIO_AF11_ETH;
  HAL_GPIO_Init(GPIOA, &GPIO_InitStruct);

  /*Configure GPIO pins : LD1_Pin LD3_Pin LD2_Pin */
  GPIO_InitStruct.Pin = LD1_Pin|LD3_Pin|LD2_Pin;
  GPIO_InitStruct.Mode = GPIO_MODE_OUTPUT_PP;
  GPIO_InitStruct.Pull = GPIO_NOPULL;
  GPIO_InitStruct.Speed = GPIO_SPEED_FREQ_LOW;
  HAL_GPIO_Init(GPIOB, &GPIO_InitStruct);

  /*Configure GPIO pin : RMII_TXD1_Pin */
  GPIO_InitStruct.Pin = RMII_TXD1_Pin;
  GPIO_InitStruct.Mode = GPIO_MODE_AF_PP;
  GPIO_InitStruct.Pull = GPIO_NOPULL;
  GPIO_InitStruct.Speed = GPIO_SPEED_FREQ_VERY_HIGH;
  GPIO_InitStruct.Alternate = GPIO_AF11_ETH;
  HAL_GPIO_Init(RMII_TXD1_GPIO_Port, &GPIO_InitStruct);

  /*Configure GPIO pin : PG6 */
  GPIO_InitStruct.Pin = GPIO_PIN_6;
  GPIO_InitStruct.Mode = GPIO_MODE_OUTPUT_PP;
  GPIO_InitStruct.Pull = GPIO_NOPULL;
  GPIO_InitStruct.Speed = GPIO_SPEED_FREQ_LOW;
  HAL_GPIO_Init(GPIOG, &GPIO_InitStruct);

  /*Configure GPIO pin : USB_OverCurrent_Pin */
  GPIO_InitStruct.Pin = USB_OverCurrent_Pin;
  GPIO_InitStruct.Mode = GPIO_MODE_INPUT;
  GPIO_InitStruct.Pull = GPIO_NOPULL;
  HAL_GPIO_Init(USB_OverCurrent_GPIO_Port, &GPIO_InitStruct);

  /*Configure GPIO pins : USB_SOF_Pin USB_ID_Pin USB_DM_Pin USB_DP_Pin */
  GPIO_InitStruct.Pin = USB_SOF_Pin|USB_ID_Pin|USB_DM_Pin|USB_DP_Pin;
  GPIO_InitStruct.Mode = GPIO_MODE_AF_PP;
  GPIO_InitStruct.Pull = GPIO_NOPULL;
  GPIO_InitStruct.Speed = GPIO_SPEED_FREQ_VERY_HIGH;
  GPIO_InitStruct.Alternate = GPIO_AF10_OTG_FS;
  HAL_GPIO_Init(GPIOA, &GPIO_InitStruct);

  /*Configure GPIO pin : USB_VBUS_Pin */
  GPIO_InitStruct.Pin = USB_VBUS_Pin;
  GPIO_InitStruct.Mode = GPIO_MODE_INPUT;
  GPIO_InitStruct.Pull = GPIO_NOPULL;
  HAL_GPIO_Init(USB_VBUS_GPIO_Port, &GPIO_InitStruct);

  /*Configure GPIO pins : RMII_TX_EN_Pin RMII_TXD0_Pin */
  GPIO_InitStruct.Pin = RMII_TX_EN_Pin|RMII_TXD0_Pin;
  GPIO_InitStruct.Mode = GPIO_MODE_AF_PP;
  GPIO_InitStruct.Pull = GPIO_NOPULL;
  GPIO_InitStruct.Speed = GPIO_SPEED_FREQ_VERY_HIGH;
  GPIO_InitStruct.Alternate = GPIO_AF11_ETH;
  HAL_GPIO_Init(GPIOG, &GPIO_InitStruct);

  /* EXTI interrupt init*/
  HAL_NVIC_SetPriority(EXTI4_IRQn, 1, 0);
  HAL_NVIC_EnableIRQ(EXTI4_IRQn);

}

void Error_Handler(void)
{
  __disable_irq();
  while (1)
  {
  }
}
